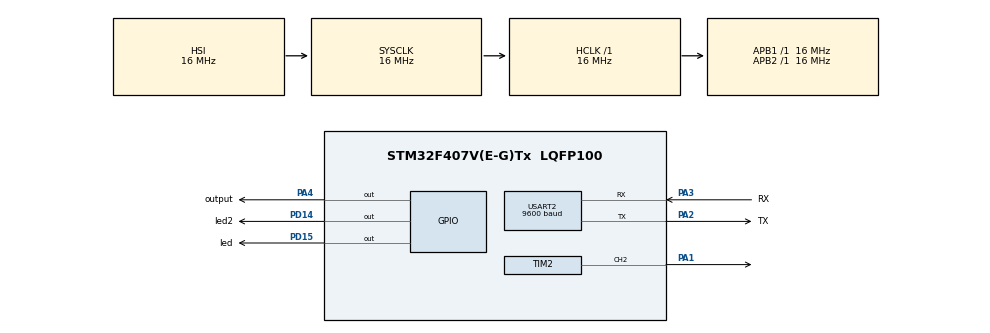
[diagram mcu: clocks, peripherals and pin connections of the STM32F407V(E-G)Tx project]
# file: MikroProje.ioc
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ADC1.Channel-0\#ChannelRegularConversion=ADC_CHANNEL_TEMPSENSOR
ADC1.ClockPrescaler=ADC_CLOCK_SYNC_PCLK_DIV8
ADC1.ContinuousConvMode=ENABLE
ADC1.NbrOfConversionFlag=1
ADC1.Rank-0\#ChannelRegularConversion=1
ADC1.Resolution=ADC_RESOLUTION_10B
ADC1.SamplingTime-0\#ChannelRegularConversion=ADC_SAMPLETIME_3CYCLES
ADC1.master=1
Mcu.Family=STM32F4
Mcu.Name=STM32F407V(E-G)Tx
Mcu.Package=LQFP100
NVIC.PriorityGroup=NVIC_PRIORITYGROUP_4
NVIC.USART2_IRQn=true\:0\:0\:false\:false\:true\:true
PA1.Signal=S_TIM2_CH2
PA2.GPIO_Label=TX
PA2.Mode=Asynchronous
PA2.Signal=USART2_TX
PA3.GPIO_Label=RX
PA3.Mode=Asynchronous
PA3.Signal=USART2_RX
PA4.GPIO_Label=output
PA4.Signal=GPIO_Output
PD14.GPIO_Label=led2
PD14.Signal=GPIO_Output
PD15.GPIO_Label=led
PD15.Signal=GPIO_Output
ProjectManager.HeapSize=0x200
ProjectManager.StackSize=0x400
ProjectManager.TargetToolchain=MDK-ARM V5
RCC.AHBFreq_Value=16000000
RCC.APB1Freq_Value=16000000
RCC.APB2Freq_Value=16000000
RCC.CortexFreq_Value=16000000
RCC.HSE_VALUE=25000000
RCC.HSI_VALUE=16000000
RCC.LSE_VALUE=32768
RCC.SYSCLKFreq_VALUE=16000000
RCC.VCOOutputFreq_Value=192000000
SH.S_TIM2_CH2.0=TIM2_CH2,PWM Generation2 CH2
TIM2.Channel-PWM\ Generation2\ CH2=TIM_CHANNEL_2
TIM2.OCPolarity_2=TIM_OCPOLARITY_LOW
TIM2.Period=999
TIM2.Prescaler=15999
USART2.BaudRate=9600
USART2.VirtualMode=VM_ASYNC
VP_ADC1_TempSens_Input.Mode=IN-TempSens
board=MikroProje

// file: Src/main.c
/**
  ******************************************************************************
  * @file           : main.c
  * @brief          : Main program body
  ******************************************************************************
  ** This notice applies to any and all portions of this file
  * that are not between comment pairs USER CODE BEGIN and
  * USER CODE END. Other portions of this file, whether
  * inserted by the user or by software development tools
  * are owned by their respective copyright owners.
  *
  * COPYRIGHT(c) 2018 STMicroelectronics
  *
  * Redistribution and use in source and binary forms, with or without modification,
  * are permitted provided that the following conditions are met:
  *   1. Redistributions of source code must retain the above copyright notice,
  *      this list of conditions and the following disclaimer.
  *   2. Redistributions in binary form must reproduce the above copyright notice,
  *      this list of conditions and the following disclaimer in the documentation
  *      and/or other materials provided with the distribution.
  *   3. Neither the name of STMicroelectronics nor the names of its contributors
  *      may be used to endorse or promote products derived from this software
  *      without specific prior written permission.
  *
  * THIS SOFTWARE IS PROVIDED BY THE COPYRIGHT HOLDERS AND CONTRIBUTORS "AS IS"
  * AND ANY EXPRESS OR IMPLIED WARRANTIES, INCLUDING, BUT NOT LIMITED TO, THE
  * IMPLIED WARRANTIES OF MERCHANTABILITY AND FITNESS FOR A PARTICULAR PURPOSE ARE
  * DISCLAIMED. IN NO EVENT SHALL THE COPYRIGHT HOLDER OR CONTRIBUTORS BE LIABLE
  * FOR ANY DIRECT, INDIRECT, INCIDENTAL, SPECIAL, EXEMPLARY, OR CONSEQUENTIAL
  * DAMAGES (INCLUDING, BUT NOT LIMITED TO, PROCUREMENT OF SUBSTITUTE GOODS OR
  * SERVICES; LOSS OF USE, DATA, OR PROFITS; OR BUSINESS INTERRUPTION) HOWEVER
  * CAUSED AND ON ANY THEORY OF LIABILITY, WHETHER IN CONTRACT, STRICT LIABILITY,
  * OR TORT (INCLUDING NEGLIGENCE OR OTHERWISE) ARISING IN ANY WAY OUT OF THE USE
  * OF THIS SOFTWARE, EVEN IF ADVISED OF THE POSSIBILITY OF SUCH DAMAGE.
  *
  ******************************************************************************
  */
#include "main.h"
#include "stm32f4xx_hal.h"
#include "adc.h"
#include "tim.h"
#include "usart.h"
#include "gpio.h"

/* USER CODE BEGIN PV */
/* Private variables ---------------------------------------------------------*/
uint8_t txData[] = {72, 101, 108, 111, 111};
uint8_t data = 10;
uint8_t rxData = 0;
float adcvalue=0;
int temp=0;
int read_temp(void);
/* USER CODE END PV */

void SystemClock_Config(void);

/* USER CODE BEGIN PFP */
/* Private function prototypes -----------------------------------------------*/

/* USER CODE END PFP */

/* USER CODE BEGIN 0 */

int read_temp(void)
{
    ADC_ChannelConfTypeDef sConfig = {0};

    // Configure ADC channel
    sConfig.Rank         = 1;
    sConfig.SamplingTime = ADC_SAMPLETIME_84CYCLES;
    sConfig.Offset       = 0;
    sConfig.Channel      = ADC_CHANNEL_TEMPSENSOR;

    HAL_ADC_ConfigChannel(&hadc1, &sConfig);

    //disable Vbat from  ADC1_IN18 input channel, shared with temperature sensor
    ADC->CCR &= ~ADC_CCR_VBATE;
    //better added instead in stm32f4xx_hal_adc.c at line 1123, also line 753 in adc_ex.c?

    HAL_ADC_Start(&hadc1); // Start conversion

    // Wait end of conversion and get value
    if (HAL_ADC_PollForConversion(&hadc1, 10) == HAL_OK) {
        uint16_t value=HAL_ADC_GetValue(&hadc1);
        HAL_ADC_Stop(&hadc1);
			  return (value /4.0 ) - 40.0;
		//	return  25.0f+(3.3f*(float)value/(float)(1023)-0.76f)/0.0025f;
    } else {
        return -273; //hell has frozen over
    }
}

void USART2_IRQHandler(void)
{
  /* USER CODE BEGIN USART2_IRQn 0 */
	HAL_UART_Receive_IT(&huart2,(uint8_t *) &rxData, 1);
	/* USER CODE END USART2_IRQn 0 */
  HAL_UART_IRQHandler(&huart2);
  /* USER CODE BEGIN USART2_IRQn 1 */

  /* USER CODE END USART2_IRQn 1 */
}

void HAL_UART_RxCpltCallback(UART_HandleTypeDef *huart){
	//txData = rxData + 10;
	//HAL_UART_Transmit_IT(&huart2, &txData, 1);
	if(rxData == 65){
		HAL_GPIO_WritePin(output_GPIO_Port, output_Pin, GPIO_PIN_SET);
		HAL_GPIO_WritePin(led_GPIO_Port, led_Pin, GPIO_PIN_SET);
		HAL_UART_Transmit_IT(&huart2,(uint8_t *) &temp, 1);
	}
	else if(rxData == 66){
		HAL_GPIO_WritePin(output_GPIO_Port, output_Pin, GPIO_PIN_RESET);
		HAL_GPIO_WritePin(led_GPIO_Port, led_Pin, GPIO_PIN_RESET);
		HAL_UART_Transmit_IT(&huart2,(uint8_t *) &temp, 1);
	}
	else if(rxData == 67){
		HAL_GPIO_WritePin(led2_GPIO_Port, led2_Pin, GPIO_PIN_SET);
		HAL_UART_Transmit_IT(&huart2,(uint8_t *) &temp, 1);
		data++;
		if(data == 30) data = 10;
	}
	else if(rxData == 48){
		TIM2 -> CCR2 = 0;
		//HAL_GPIO_WritePin(led2_GPIO_Port, led2_Pin, GPIO_PIN_RESET);
		HAL_UART_Transmit_IT(&huart2,(uint8_t *) &temp, 1);
	}
	else if(rxData == 49){
		TIM2 -> CCR2 = 250;
		//HAL_GPIO_WritePin(led2_GPIO_Port, led2_Pin, GPIO_PIN_RESET);
		HAL_UART_Transmit_IT(&huart2,(uint8_t *) &temp, 1);
	}
	else if(rxData == 50){
		TIM2 -> CCR2 = 500;
		//HAL_GPIO_WritePin(led2_GPIO_Port, led2_Pin, GPIO_PIN_RESET);
		HAL_UART_Transmit_IT(&huart2,(uint8_t *) &temp, 1);
	}
	else if(rxData == 51){
		TIM2 -> CCR2 = 750;
		//HAL_GPIO_WritePin(led2_GPIO_Port, led2_Pin, GPIO_PIN_RESET);
		HAL_UART_Transmit_IT(&huart2,(uint8_t *) &temp, 1);
	}else if(rxData == 52){
		TIM2 -> CCR2 = 1000;
		//HAL_GPIO_WritePin(led2_GPIO_Port, led2_Pin, GPIO_PIN_RESET);
		HAL_UART_Transmit_IT(&huart2,(uint8_t *) &temp, 1);
	}
}
/* USER CODE END 0 */

int main(void)
{

  /* MCU Configuration----------------------------------------------------------*/

  /* Reset of all peripherals, Initializes the Flash interface and the Systick. */
  HAL_Init();

  /* Configure the system clock */
  SystemClock_Config();

  /* Initialize all configured peripherals */
  MX_GPIO_Init();
  MX_USART2_UART_Init();
  MX_TIM2_Init();
  MX_ADC1_Init();
  /* USER CODE BEGIN 2 */
	HAL_UART_Transmit_IT(&huart2, &data, 1);
	HAL_TIM_PWM_Start(&htim2, TIM_CHANNEL_2);
	HAL_ADC_Start_IT(&hadc1);
  /* USER CODE END 2 */

  /* Infinite loop */
  while (1)
  {

  /* USER CODE BEGIN 3 */
	//adcvalue=HAL_ADC_GetValue(&hadc1);
	//HAL_ADC_Start_IT(&hadc1);
	temp = read_temp();
	HAL_Delay(1000);
	}
  /* USER CODE END 3 */

}

void SystemClock_Config(void)
{

  RCC_OscInitTypeDef RCC_OscInitStruct;
  RCC_ClkInitTypeDef RCC_ClkInitStruct;

    /**Configure the main internal regulator output voltage
    */
  __HAL_RCC_PWR_CLK_ENABLE();

  __HAL_PWR_VOLTAGESCALING_CONFIG(PWR_REGULATOR_VOLTAGE_SCALE1);

    /**Initializes the CPU, AHB and APB busses clocks
    */
  RCC_OscInitStruct.OscillatorType = RCC_OSCILLATORTYPE_HSI;
  RCC_OscInitStruct.HSIState = RCC_HSI_ON;
  RCC_OscInitStruct.HSICalibrationValue = 16;
  RCC_OscInitStruct.PLL.PLLState = RCC_PLL_NONE;
  if (HAL_RCC_OscConfig(&RCC_OscInitStruct) != HAL_OK)
  {
    _Error_Handler(__FILE__, __LINE__);
  }

    /**Initializes the CPU, AHB and APB busses clocks
    */
  RCC_ClkInitStruct.ClockType = RCC_CLOCKTYPE_HCLK|RCC_CLOCKTYPE_SYSCLK
                              |RCC_CLOCKTYPE_PCLK1|RCC_CLOCKTYPE_PCLK2;
  RCC_ClkInitStruct.SYSCLKSource = RCC_SYSCLKSOURCE_HSI;
  RCC_ClkInitStruct.AHBCLKDivider = RCC_SYSCLK_DIV1;
  RCC_ClkInitStruct.APB1CLKDivider = RCC_HCLK_DIV1;
  RCC_ClkInitStruct.APB2CLKDivider = RCC_HCLK_DIV1;

  if (HAL_RCC_ClockConfig(&RCC_ClkInitStruct, FLASH_LATENCY_0) != HAL_OK)
  {
    _Error_Handler(__FILE__, __LINE__);
  }

    /**Configure the Systick interrupt time
    */
  HAL_SYSTICK_Config(HAL_RCC_GetHCLKFreq()/1000);

    /**Configure the Systick
    */
  HAL_SYSTICK_CLKSourceConfig(SYSTICK_CLKSOURCE_HCLK);

  /* SysTick_IRQn interrupt configuration */
  HAL_NVIC_SetPriority(SysTick_IRQn, 0, 0);
}

void _Error_Handler(char *file, int line)
{
  while(1)
  {
  }
}

/************************ (C) COPYRIGHT STMicroelectronics *****END OF FILE****/
